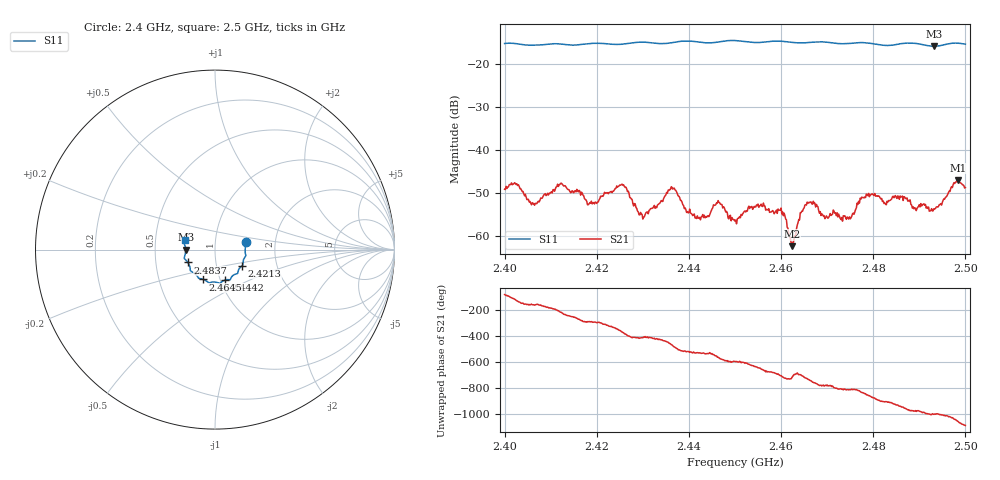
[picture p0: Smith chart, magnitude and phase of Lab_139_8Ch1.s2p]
# Hz S RI R 50
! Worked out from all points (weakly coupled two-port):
!   601 points, 2.4 GHz to 2.5 GHz, reference 50 ohm
!   highest |S21| = -47.00 dB at 2.4983 GHz (marker M1); lowest = -62.5 dB at 2.4623 GHz (marker M2)
!   lowest |S11| = -15.7 dB at 2.4932 GHz (marker M3), VSWR 1.39, Z = 36 - j0.0381 ohm
!   |S11| at or under -10 dB: start of sweep to end of sweep
!   S12 and S22 are empty: the file has one direction only
!   S11 on the Smith chart (normalised r, x): 2.4 GHz: 1.41, +0.12; 2.4213 GHz: 1.33, -0.25; 2.4442 GHz: 1.05, -0.37; 2.4645 GHz: 0.83, -0.29; 2.4837 GHz: 0.73, -0.11; 2.5 GHz: 0.71, +0.07
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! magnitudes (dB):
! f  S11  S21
! 2.4 GHz  -15.1  -49.1
! 2.4063 GHz  -15.5  -52.5
! 2.4167 GHz  -15.3  -49.8
! 2.4213 GHz  -15.1  -50.8
! 2.4258 GHz  -15.2  -48.1
! 2.4298 GHz  -14.8  -55.0
! 2.4333 GHz  -15.1  -52.7
! 2.4367 GHz  -14.8  -48.9
! 2.4442 GHz  -15.0  -55.4
! 2.4465 GHz  -14.7  -52.2
! 2.45 GHz  -14.4  -56.6
! 2.4598 GHz  -14.5  -54.1
! 2.4623 GHz  -14.8  -62.5
! 2.4645 GHz  -15.0  -54.3
! 2.4667 GHz  -14.8  -52.6
! 2.4747 GHz  -15.1  -56.1
! 2.4785 GHz  -14.9  -50.3
! 2.4833 GHz  -15.6  -51.8
! 2.4837 GHz  -15.5  -51.8
! 2.4932 GHz  -15.7  -53.7
! 2.4983 GHz  -15.0  -47.0
! 2.5 GHz  -15.2  -48.8
